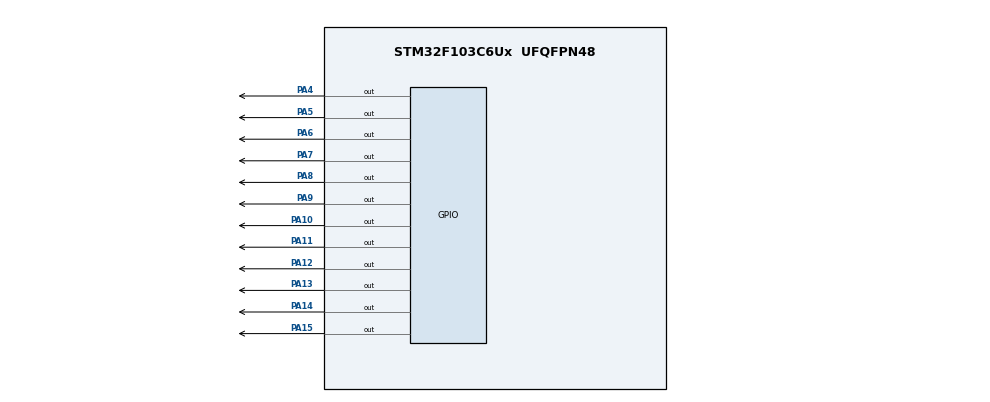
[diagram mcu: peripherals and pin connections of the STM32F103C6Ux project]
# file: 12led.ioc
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Mcu.Family=STM32F1
Mcu.Name=STM32F103C6Ux
Mcu.Package=UFQFPN48
NVIC.PriorityGroup=NVIC_PRIORITYGROUP_4
PA10.Signal=GPIO_Output
PA11.Signal=GPIO_Output
PA12.Signal=GPIO_Output
PA13.Signal=GPIO_Output
PA14.Signal=GPIO_Output
PA15.Signal=GPIO_Output
PA4.Signal=GPIO_Output
PA5.Signal=GPIO_Output
PA6.Signal=GPIO_Output
PA7.Signal=GPIO_Output
PA8.Signal=GPIO_Output
PA9.Signal=GPIO_Output
ProjectManager.HeapSize=0x200
ProjectManager.StackSize=0x400
ProjectManager.TargetToolchain=STM32CubeIDE
RCC.APB1Freq_Value=8000000
RCC.APB2Freq_Value=8000000
VP_SYS_VS_ND.Mode=No_Debug
board=custom

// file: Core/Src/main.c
/* USER CODE BEGIN Header */
/**
  ******************************************************************************
  * @file           : main.c
  * @brief          : Lab 01 - Exercises 6 to 10
  ******************************************************************************
  */
/* USER CODE END Header */

#include "main.h"

/* USER CODE BEGIN PD */

/* Chon bai: 6, 7, 8, 9 hoac 10 */
#define LAB_TASK 10

/* PA4 den PA15 */
#define CLOCK_PINS ((uint16_t)0xFFF0)

/* LED noi ve GND: muc 1 sang, muc 0 tat */
#define CLOCK_LED_ON  GPIO_PIN_SET
#define CLOCK_LED_OFF GPIO_PIN_RESET

/* USER CODE END PD */

void SystemClock_Config(void);
static void MX_GPIO_Init(void);

/* USER CODE BEGIN PFP */

void clearAllClock(void);
void setNumberOnClock(int num);
void clearNumberOnClock(int num);

static void displayClock(uint8_t hours,
                         uint8_t minutes,
                         uint8_t seconds);

/* USER CODE END PFP */

/* USER CODE BEGIN 0 */

/*
 * Anh xa vi tri:
 * d0  -> PA4  -> 12 gio
 * d1  -> PA5  -> 1 gio
 * ...
 * d11 -> PA15 -> 11 gio
 */

/* Bai 7: tat tat ca 12 LED */
void clearAllClock(void)
{
  HAL_GPIO_WritePin(GPIOA, CLOCK_PINS, CLOCK_LED_OFF);
}

/* Bai 8: bat LED num, giu nguyen cac LED khac */
void setNumberOnClock(int num)
{
  if (num < 0 || num > 11)
  {
    return;
  }

  uint16_t pin = (uint16_t)(GPIO_PIN_4 << num);

  HAL_GPIO_WritePin(GPIOA, pin, CLOCK_LED_ON);
}

/* Bai 9: tat LED num, giu nguyen cac LED khac */
void clearNumberOnClock(int num)
{
  if (num < 0 || num > 11)
  {
    return;
  }

  uint16_t pin = (uint16_t)(GPIO_PIN_4 << num);

  HAL_GPIO_WritePin(GPIOA, pin, CLOCK_LED_OFF);
}

/*
 * Bai 10: hien thi gio, phut, giay tren 12 vi tri.
 *
 * Gio:  hours % 12
 * Phut: minutes / 5
 * Giay: seconds / 5
 *
 * Cac kim trung vi tri se dung chung mot LED.
 */
static void displayClock(uint8_t hours,
                         uint8_t minutes,
                         uint8_t seconds)
{
  clearAllClock();

  setNumberOnClock(hours % 12);
  setNumberOnClock(minutes / 5);
  setNumberOnClock(seconds / 5);
}

/* USER CODE END 0 */

int main(void)
{
  /* USER CODE BEGIN 1 */

#if LAB_TASK == 6 || LAB_TASK == 8 || LAB_TASK == 9
  int position = 0;
#elif LAB_TASK == 10
  uint8_t hours = 10;
  uint8_t minutes = 10;
  uint8_t seconds = 30;
#endif

  /* USER CODE END 1 */

  /* MCU Configuration--------------------------------------------------------*/

  /* Reset peripherals, initialize Flash interface and SysTick */
  HAL_Init();

  /* Configure the system clock */
  SystemClock_Config();

  /* USER CODE BEGIN SysInit */

  /*
   * Tat JTAG va SWD de giai phong PA13, PA14, PA15.
   * Cac chan nay duoc dung de dieu khien LED.
   */
  __HAL_RCC_AFIO_CLK_ENABLE();
  __HAL_AFIO_REMAP_SWJ_DISABLE();

  /* USER CODE END SysInit */

  /* Initialize all configured peripherals */
  MX_GPIO_Init();

  /* USER CODE BEGIN 2 */

  clearAllClock();

  /* USER CODE END 2 */

  /* Infinite loop */
  while (1)
  {

    /* USER CODE BEGIN 3 */

#if LAB_TASK == 6

    /*
     * Bai 6:
     * Kiem tra day noi bang cach bat tung LED.
     * Moi thoi diem chi co mot LED sang.
     */
    clearAllClock();
    setNumberOnClock(position);
    HAL_Delay(500);

    position = (position + 1) % 12;

#elif LAB_TASK == 7

    /*
     * Bai 7:
     * Bat tat ca LED, sau do goi clearAllClock().
     */
    HAL_GPIO_WritePin(GPIOA, CLOCK_PINS, CLOCK_LED_ON);
    HAL_Delay(1000);

    clearAllClock();
    HAL_Delay(1000);

#elif LAB_TASK == 8

    /*
     * Bai 8:
     * Bat tich luy tung LED: 1 -> 2 -> ... -> 12 LED.
     * Sang vong moi thi tat tat ca va bat lai tu d0.
     */
    if (position == 0)
    {
      clearAllClock();
    }

    setNumberOnClock(position);
    HAL_Delay(500);

    position = (position + 1) % 12;

#elif LAB_TASK == 9

    /*
     * Bai 9:
     * Bat tat ca, sau do tat lan luot d0 den d11.
     */
    if (position == 0)
    {
      HAL_GPIO_WritePin(GPIOA, CLOCK_PINS, CLOCK_LED_ON);
      HAL_Delay(1000);
    }

    clearNumberOnClock(position);
    HAL_Delay(500);

    position = (position + 1) % 12;

#elif LAB_TASK == 10

    /*
     * Bai 10:
     * Hien thi thoi gian hien tai trong mot giay.
     */
    displayClock(hours, minutes, seconds);
    HAL_Delay(1000);

    /* Tang thoi gian them mot giay */
    seconds++;

    if (seconds >= 60)
    {
      seconds = 0;
      minutes++;
    }

    if (minutes >= 60)
    {
      minutes = 0;
      hours = (hours + 1) % 12;
    }

#else
#error "LAB_TASK must be 6, 7, 8, 9, or 10"
#endif

  }
  /* USER CODE END 3 */
}

void SystemClock_Config(void)
{
  RCC_OscInitTypeDef RCC_OscInitStruct = {0};
  RCC_ClkInitTypeDef RCC_ClkInitStruct = {0};

  /* Initialize the internal HSI oscillator */
  RCC_OscInitStruct.OscillatorType = RCC_OSCILLATORTYPE_HSI;
  RCC_OscInitStruct.HSIState = RCC_HSI_ON;
  RCC_OscInitStruct.HSICalibrationValue = RCC_HSICALIBRATION_DEFAULT;
  RCC_OscInitStruct.PLL.PLLState = RCC_PLL_NONE;

  if (HAL_RCC_OscConfig(&RCC_OscInitStruct) != HAL_OK)
  {
    Error_Handler();
  }

  /* Configure CPU, AHB and APB clocks */
  RCC_ClkInitStruct.ClockType =
      RCC_CLOCKTYPE_HCLK | RCC_CLOCKTYPE_SYSCLK |
      RCC_CLOCKTYPE_PCLK1 | RCC_CLOCKTYPE_PCLK2;

  RCC_ClkInitStruct.SYSCLKSource = RCC_SYSCLKSOURCE_HSI;
  RCC_ClkInitStruct.AHBCLKDivider = RCC_SYSCLK_DIV1;
  RCC_ClkInitStruct.APB1CLKDivider = RCC_HCLK_DIV1;
  RCC_ClkInitStruct.APB2CLKDivider = RCC_HCLK_DIV1;

  if (HAL_RCC_ClockConfig(&RCC_ClkInitStruct,
                         FLASH_LATENCY_0) != HAL_OK)
  {
    Error_Handler();
  }
}

static void MX_GPIO_Init(void)
{
  GPIO_InitTypeDef GPIO_InitStruct = {0};

  /* GPIO Ports Clock Enable */
  __HAL_RCC_GPIOA_CLK_ENABLE();

  /*
   * Dat muc tat truoc khi chuyen cac chan thanh Output.
   */
  HAL_GPIO_WritePin(GPIOA, CLOCK_PINS, CLOCK_LED_OFF);

  /* Configure PA4 to PA15 as GPIO outputs */
  GPIO_InitStruct.Pin = CLOCK_PINS;
  GPIO_InitStruct.Mode = GPIO_MODE_OUTPUT_PP;
  GPIO_InitStruct.Pull = GPIO_NOPULL;
  GPIO_InitStruct.Speed = GPIO_SPEED_FREQ_LOW;

  HAL_GPIO_Init(GPIOA, &GPIO_InitStruct);
}

void Error_Handler(void)
{
  __disable_irq();
  while (1)
  {
  }
}

#ifdef USE_FULL_ASSERT
/**
  * @brief Reports the source file and line of an assert error.
  * @param file: source file name
  * @param line: source line number
  * @retval None
  */
void assert_failed(uint8_t *file, uint32_t line)
{
  /* USER CODE BEGIN 6 */

  (void)file;
  (void)line;

  /* USER CODE END 6 */
}
#endif /* USE_FULL_ASSERT */

/************************ (C) COPYRIGHT STMicroelectronics *****END OF FILE****/
